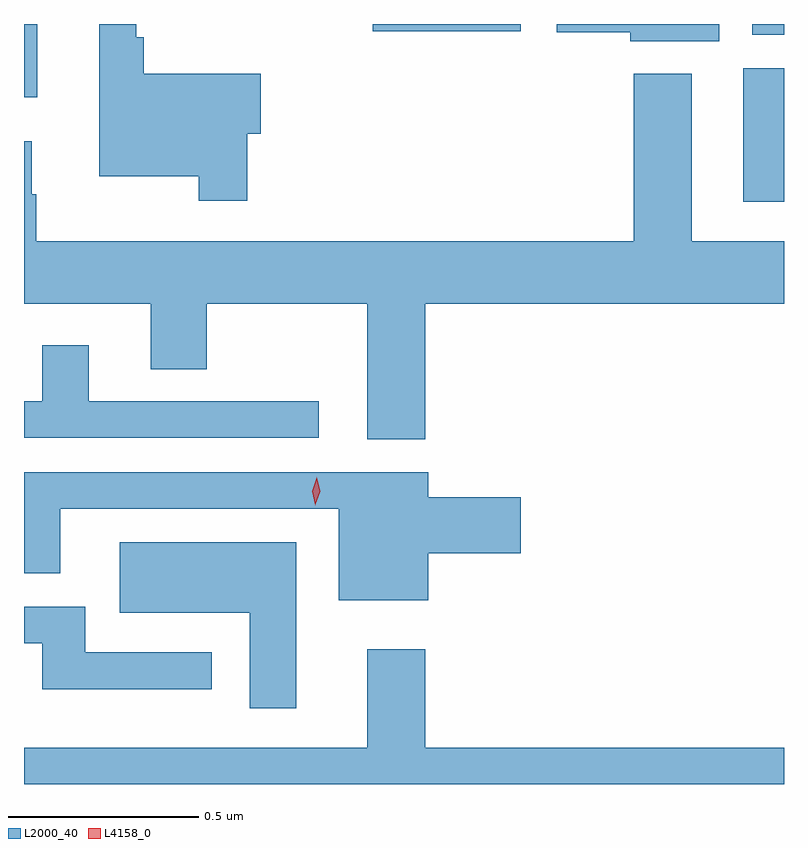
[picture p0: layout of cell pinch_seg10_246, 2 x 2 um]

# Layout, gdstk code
import gdstk
lib = gdstk.Library(unit=1e-6, precision=1e-09)
def R(c, l, rs):  # rectangles x0, y0, x1, y1
    for r in rs: c.add(gdstk.rectangle(r[:2], r[2:], *l))
def P(c, l, *ps):  # polygons
    for p in ps: c.add(gdstk.Polygon(p, *l))
L2000_40 = (2000, 40)
L4158_0 = (4158, 0)

pinch_seg10_246 = lib.new_cell('pinch_seg10_246')
R(pinch_seg10_246, L2000_40, [(619.865,1300.584,619.972,1300.936), (617.972,1300.859,618.007,1301.052), (619.889,1301.024,619.972,1301.052), (618.89,1301.033,619.279,1301.052)])
P(pinch_seg10_246, L2000_40, [(618.56,1300.763),(618.595,1300.763),(618.595,1300.921),(618.287,1300.921),(618.287,1301.017),(618.267,1301.017),(618.267,1301.052),(618.17,1301.052),(618.17,1300.652),(618.432,1300.652),(618.432,1300.587),(618.56,1300.587)],
  [(619.801,1301.052),(619.374,1301.052),(619.374,1301.03),(619.568,1301.03),(619.568,1301.006),(619.801,1301.006)],
  [(619.028,1300.316),(619.972,1300.316),(619.972,1300.48),(619.729,1300.48),(619.729,1300.921),(619.577,1300.921),(619.577,1300.48),(618.004,1300.48),(618.004,1300.604),(617.992,1300.604),(617.992,1300.744),(617.972,1300.744),(617.972,1300.316),(618.305,1300.316),(618.305,1300.144),(618.453,1300.144),(618.453,1300.316),(618.875,1300.316),(618.875,1299.959),(619.028,1299.959)],
  [(618.748,1300.059),(618.142,1300.059),(618.142,1300.207),(618.02,1300.207),(618.02,1300.059),(617.972,1300.059),(617.972,1299.963),(618.748,1299.963)],
  [(619.036,1299.659),(619.279,1299.659),(619.279,1299.806),(619.036,1299.806),(619.036,1299.873),(617.972,1299.873),(617.972,1299.606),(618.067,1299.606),(618.067,1299.777),(618.8,1299.777),(618.8,1299.536),(619.036,1299.536)],
  [(618.688,1299.688),(618.224,1299.688),(618.224,1299.503),(618.566,1299.503),(618.566,1299.252),(618.688,1299.252)],
  [(618.466,1299.399),(618.133,1299.399),(618.133,1299.519),(617.972,1299.519),(617.972,1299.423),(618.02,1299.423),(618.02,1299.302),(618.466,1299.302)],
  [(619.972,1299.148),(619.028,1299.148),(619.028,1299.406),(618.875,1299.406),(618.875,1299.148),(617.972,1299.148),(617.972,1299.052),(619.972,1299.052)])
P(pinch_seg10_246, L4158_0, [(618.739,1299.786),(618.739,1299.787),(618.731,1299.823),(618.743,1299.858),(618.743,1299.859),(618.743,1299.858),(618.751,1299.822),(618.739,1299.787)])

lib.write_gds('pinch_seg10_246.gds')
